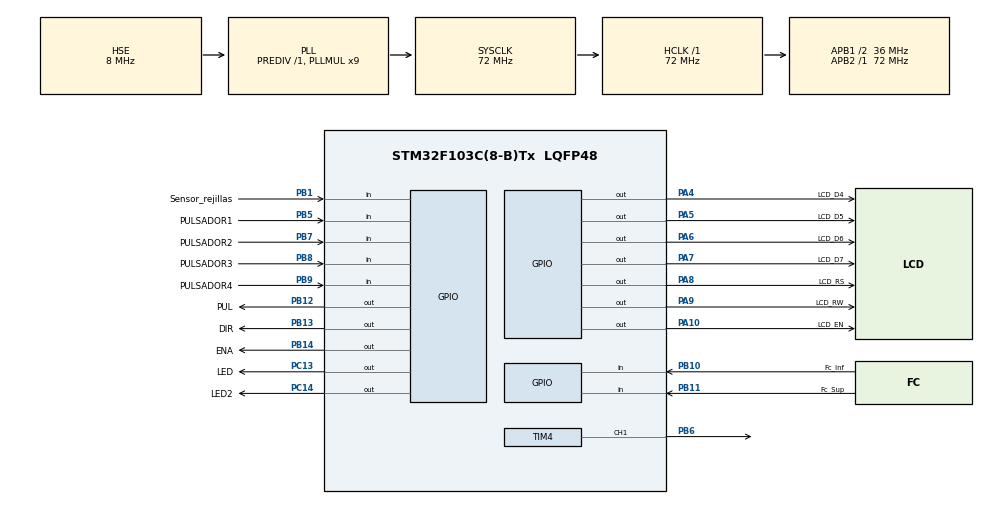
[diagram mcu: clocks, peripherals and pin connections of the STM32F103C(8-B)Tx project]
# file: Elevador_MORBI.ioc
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Mcu.Family=STM32F1
PB14.GPIO_Label=ENA
PA6.GPIO_Label=LCD_D6
PB13.GPIO_Label=DIR
PB11.Signal=GPIO_Input
PB13.Signal=GPIO_Output
RCC.SYSCLKSource=RCC_SYSCLKSOURCE_PLLCLK
ProjectManager.StackSize=0x400
PD1-OSC_OUT.Signal=RCC_OSC_OUT
RCC.HCLKFreq_Value=72000000
RCC.APB2TimFreq_Value=72000000
TIM4.Pulse-PWM\ Generation1\ CH1=18000
PB6.Signal=S_TIM4_CH1
RCC.AHBFreq_Value=72000000
RCC.PLLMUL=RCC_PLL_MUL9
PB12.GPIO_Label=PUL
PC13-TAMPER-RTC.PinState=GPIO_PIN_SET
PA14.Mode=Serial_Wire
PB1.GPIO_Label=Sensor_rejillas
PA10.GPIO_Label=LCD_EN
PB7.Signal=GPIO_Input
PA8.Signal=GPIO_Output
TIM4.Period=36000
PB7.GPIO_Label=PULSADOR2
Mcu.Package=LQFP48
PB9.Signal=GPIO_Input
PB1.Signal=GPIO_Input
PA6.Signal=GPIO_Output
PA10.Signal=GPIO_Output
PB5.GPIO_Label=PULSADOR1
SH.S_TIM4_CH1.0=TIM4_CH1,PWM Generation1 CH1
RCC.APB1TimFreq_Value=72000000
PC14-OSC32_IN.GPIO_Label=LED2
PA4.GPIO_Label=LCD_D4
RCC.PLLSourceVirtual=RCC_PLLSOURCE_HSE
TIM4.Channel-PWM\ Generation1\ CH1=TIM_CHANNEL_1
TIM4.AutoReloadPreload=TIM_AUTORELOAD_PRELOAD_DISABLE
PD1-OSC_OUT.Mode=HSE-External-Oscillator
TIM4.CounterMode=TIM_COUNTERMODE_UP
PB9.GPIO_Label=PULSADOR4
PA9.GPIO_Label=LCD_RW
PB11.GPIO_Label=Fc_Sup
PC13-TAMPER-RTC.Signal=GPIO_Output
RCC.USBPrescaler=RCC_USBCLKSOURCE_PLL_DIV1_5
PD0-OSC_IN.Signal=RCC_OSC_IN
RCC.APB1CLKDivider=RCC_HCLK_DIV2
PC14-OSC32_IN.Signal=GPIO_Output
PA13.Signal=SYS_JTMS-SWDIO
PB8.GPIO_Label=PULSADOR3
PA8.GPIO_Label=LCD_RS
ProjectManager.TargetToolchain=STM32CubeIDE
PB10.GPIO_Label=Fc_Inf
PA9.Signal=GPIO_Output
RCC.USBFreq_Value=48000000
TIM4.Prescaler=1-1
PD0-OSC_IN.Mode=HSE-External-Oscillator
PB10.Signal=GPIO_Input
PB14.Signal=GPIO_Output
PA5.Signal=GPIO_Output
board=custom
PC13-TAMPER-RTC.GPIO_Label=LED
RCC.APB2Freq_Value=72000000
PA13.Mode=Serial_Wire
Mcu.Name=STM32F103C(8-B)Tx
PA4.Signal=GPIO_Output
RCC.SYSCLKFreq_VALUE=72000000
PB5.Signal=GPIO_Input
PA7.GPIO_Label=LCD_D7
PA5.GPIO_Label=LCD_D5
PA14.Signal=SYS_JTCK-SWCLK
ProjectManager.HeapSize=0x200
VP_TIM4_VS_ClockSourceINT.Mode=Internal
NVIC.PriorityGroup=NVIC_PRIORITYGROUP_4
PB8.Signal=GPIO_Input
RCC.APB1Freq_Value=36000000
PB12.Signal=GPIO_Output
PA7.Signal=GPIO_Output

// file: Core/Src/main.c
/* USER CODE BEGIN Header */
/**
  ******************************************************************************
  * @file           : main.c
  * @brief          : Main program body
  ******************************************************************************
  * @attention
  *
  * <h2><center>&copy; Copyright (c) 2019 STMicroelectronics.
  * All rights reserved.</center></h2>
  *
  * This software component is licensed by ST under BSD 3-Clause license,
  * the "License"; You may not use this file except in compliance with the
  * License. You may obtain a copy of the License at:
  *                        opensource.org/licenses/BSD-3-Clause
  *
  ******************************************************************************
  */
/* USER CODE END Header */
#include "main.h"

/* USER CODE BEGIN Includes */
#include <app_cfg.h>
#include <cpu_core.h>
#include <os.h>
#include "stdio.h"
#include <math.h>
#include "lib_str.h"
#include "stdarg.h"
#include "tareas.h"

/* USER CODE END Includes */

/* USER CODE BEGIN PD */
#warning "Modify this value to match the number of external interrupts in your MCU"
#define EXT_INT_MAX_NBR 16u
/* USER CODE END PD */

TIM_HandleTypeDef htim4;

/* USER CODE BEGIN PV */
static void StartupTask 			(void *p_arg);
static void LecturaPulsadores		(void *p_arg);
static void ActualizarDisplay		(void *p_arg);
static void ControlMotor			(void *p_arg);

static OS_STK StartupTaskStk[APP_CFG_STARTUP_TASK_STK_SIZE];
static OS_STK Task1Stk[APP_CFG_TASK1_STK_SIZE];
static OS_STK Task2Stk[APP_CFG_TASK2_STK_SIZE];
static OS_STK Task3Stk[APP_CFG_TASK3_STK_SIZE];
static OS_STK Task4Stk[APP_CFG_TASK4_STK_SIZE];
static OS_STK Task5Stk[APP_CFG_TASK5_STK_SIZE];
static OS_STK Task6Stk[APP_CFG_TASK6_STK_SIZE];

static void App_TaskCreate (void);
static void App_Task2Create (void);
static void App_Task3Create (void);
static void App_Task4Create (void);
static void App_Task5Create (void);
static void App_Task6Create (void);
void UsbPrintf (CPU_CHAR  *p_fmt, ...);

/* USER CODE END PV */

void SystemClock_Config(void);
static void MX_GPIO_Init(void);
static void MX_TIM4_Init(void);

int main(void)
{
  /* USER CODE BEGIN 1 */
#if (OS_TASK_NAME_EN > 0u)
CPU_INT08U os_err;
#endif
CPU_INT16U int_id;
  /* USER CODE END 1 */

  /* MCU Configuration--------------------------------------------------------*/

  /* Reset of all peripherals, Initializes the Flash interface and the Systick. */
  HAL_Init();

  /* USER CODE BEGIN Init */
  CPU_IntDis();
  for (int_id = CPU_INT_EXT0; int_id <= (EXT_INT_MAX_NBR - 1u); int_id++)
  {
  /* Set all external intr. to KA interrupt priority boundary */
  CPU_IntSrcPrioSet(int_id, CPU_CFG_KA_IPL_BOUNDARY, CPU_INT_KA);
  }

  /* USER CODE END Init */

  /* Configure the system clock */
  SystemClock_Config();

  /* Initialize all configured peripherals */
  MX_GPIO_Init();
  MX_TIM4_Init();
  /* USER CODE BEGIN 2 */

  //HAL_TIM_PWM_Start(&htim4, TIM_CHANNEL_1);

  OSInit();
  OSTaskCreateExt( StartupTask,
                   0,
				   &StartupTaskStk[APP_CFG_STARTUP_TASK_STK_SIZE - 1],
				   APP_CFG_STARTUP_TASK_PRIO,
				   APP_CFG_STARTUP_TASK_PRIO,
				   &StartupTaskStk[0],
				   APP_CFG_STARTUP_TASK_STK_SIZE,
				   0,
				   (OS_TASK_OPT_STK_CHK | OS_TASK_OPT_STK_CLR));
  #if (OS_TASK_NAME_EN > 0u)
   OSTaskNameSet( APP_CFG_STARTUP_TASK_PRIO,
    	  	      (INT8U *)"Startup task",
				  &os_err);
  #endif

  OSStart();
  /* USER CODE END 2 */

  /* Infinite loop */
  while (1)
  {

  }
}

void SystemClock_Config(void)
{
  RCC_OscInitTypeDef RCC_OscInitStruct = {0};
  RCC_ClkInitTypeDef RCC_ClkInitStruct = {0};

  /** Initializes the RCC Oscillators according to the specified parameters
  * in the RCC_OscInitTypeDef structure.
  */
  RCC_OscInitStruct.OscillatorType = RCC_OSCILLATORTYPE_HSE;
  RCC_OscInitStruct.HSEState = RCC_HSE_ON;
  RCC_OscInitStruct.HSEPredivValue = RCC_HSE_PREDIV_DIV1;
  RCC_OscInitStruct.HSIState = RCC_HSI_ON;
  RCC_OscInitStruct.PLL.PLLState = RCC_PLL_ON;
  RCC_OscInitStruct.PLL.PLLSource = RCC_PLLSOURCE_HSE;
  RCC_OscInitStruct.PLL.PLLMUL = RCC_PLL_MUL9;
  if (HAL_RCC_OscConfig(&RCC_OscInitStruct) != HAL_OK)
  {
    Error_Handler();
  }
  /** Initializes the CPU, AHB and APB buses clocks
  */
  RCC_ClkInitStruct.ClockType = RCC_CLOCKTYPE_HCLK|RCC_CLOCKTYPE_SYSCLK
                              |RCC_CLOCKTYPE_PCLK1|RCC_CLOCKTYPE_PCLK2;
  RCC_ClkInitStruct.SYSCLKSource = RCC_SYSCLKSOURCE_PLLCLK;
  RCC_ClkInitStruct.AHBCLKDivider = RCC_SYSCLK_DIV1;
  RCC_ClkInitStruct.APB1CLKDivider = RCC_HCLK_DIV2;
  RCC_ClkInitStruct.APB2CLKDivider = RCC_HCLK_DIV1;

  if (HAL_RCC_ClockConfig(&RCC_ClkInitStruct, FLASH_LATENCY_2) != HAL_OK)
  {
    Error_Handler();
  }
}

static void MX_TIM4_Init(void)
{

  TIM_ClockConfigTypeDef sClockSourceConfig = {0};
  TIM_MasterConfigTypeDef sMasterConfig = {0};
  TIM_OC_InitTypeDef sConfigOC = {0};

  htim4.Instance = TIM4;
  htim4.Init.Prescaler = 1-1;
  htim4.Init.CounterMode = TIM_COUNTERMODE_UP;
  htim4.Init.Period = 36000;
  htim4.Init.ClockDivision = TIM_CLOCKDIVISION_DIV1;
  htim4.Init.AutoReloadPreload = TIM_AUTORELOAD_PRELOAD_DISABLE;
  if (HAL_TIM_Base_Init(&htim4) != HAL_OK)
  {
    Error_Handler();
  }
  sClockSourceConfig.ClockSource = TIM_CLOCKSOURCE_INTERNAL;
  if (HAL_TIM_ConfigClockSource(&htim4, &sClockSourceConfig) != HAL_OK)
  {
    Error_Handler();
  }
  if (HAL_TIM_PWM_Init(&htim4) != HAL_OK)
  {
    Error_Handler();
  }
  sMasterConfig.MasterOutputTrigger = TIM_TRGO_RESET;
  sMasterConfig.MasterSlaveMode = TIM_MASTERSLAVEMODE_DISABLE;
  if (HAL_TIMEx_MasterConfigSynchronization(&htim4, &sMasterConfig) != HAL_OK)
  {
    Error_Handler();
  }
  sConfigOC.OCMode = TIM_OCMODE_PWM1;
  sConfigOC.Pulse = 18000;
  sConfigOC.OCPolarity = TIM_OCPOLARITY_HIGH;
  sConfigOC.OCFastMode = TIM_OCFAST_DISABLE;
  if (HAL_TIM_PWM_ConfigChannel(&htim4, &sConfigOC, TIM_CHANNEL_1) != HAL_OK)
  {
    Error_Handler();
  }
  HAL_TIM_MspPostInit(&htim4);

}

static void MX_GPIO_Init(void)
{
  GPIO_InitTypeDef GPIO_InitStruct = {0};

  /* GPIO Ports Clock Enable */
  __HAL_RCC_GPIOC_CLK_ENABLE();
  __HAL_RCC_GPIOD_CLK_ENABLE();
  __HAL_RCC_GPIOA_CLK_ENABLE();
  __HAL_RCC_GPIOB_CLK_ENABLE();

  /*Configure GPIO pin Output Level */
  HAL_GPIO_WritePin(LED_GPIO_Port, LED_Pin, GPIO_PIN_SET);

  /*Configure GPIO pin Output Level */
  HAL_GPIO_WritePin(LED2_GPIO_Port, LED2_Pin, GPIO_PIN_RESET);

  /*Configure GPIO pin Output Level */
  HAL_GPIO_WritePin(GPIOA, LCD_D4_Pin|LCD_D5_Pin|LCD_D6_Pin|LCD_D7_Pin
                          |LCD_RS_Pin|LCD_RW_Pin|LCD_EN_Pin, GPIO_PIN_RESET);

  /*Configure GPIO pin Output Level */
  HAL_GPIO_WritePin(GPIOB, PUL_Pin|DIR_Pin|ENA_Pin, GPIO_PIN_RESET);

  /*Configure GPIO pins : LED_Pin LED2_Pin */
  GPIO_InitStruct.Pin = LED_Pin|LED2_Pin;
  GPIO_InitStruct.Mode = GPIO_MODE_OUTPUT_PP;
  GPIO_InitStruct.Pull = GPIO_NOPULL;
  GPIO_InitStruct.Speed = GPIO_SPEED_FREQ_LOW;
  HAL_GPIO_Init(GPIOC, &GPIO_InitStruct);

  /*Configure GPIO pins : LCD_D4_Pin LCD_D5_Pin LCD_D6_Pin LCD_D7_Pin
                           LCD_RS_Pin LCD_RW_Pin LCD_EN_Pin */
  GPIO_InitStruct.Pin = LCD_D4_Pin|LCD_D5_Pin|LCD_D6_Pin|LCD_D7_Pin
                          |LCD_RS_Pin|LCD_RW_Pin|LCD_EN_Pin;
  GPIO_InitStruct.Mode = GPIO_MODE_OUTPUT_PP;
  GPIO_InitStruct.Pull = GPIO_NOPULL;
  GPIO_InitStruct.Speed = GPIO_SPEED_FREQ_LOW;
  HAL_GPIO_Init(GPIOA, &GPIO_InitStruct);

  /*Configure GPIO pins : Sensor_rejillas_Pin Fc_Inf_Pin Fc_Sup_Pin PULSADOR1_Pin
                           PULSADOR2_Pin PULSADOR3_Pin PULSADOR4_Pin */
  GPIO_InitStruct.Pin = Sensor_rejillas_Pin|Fc_Inf_Pin|Fc_Sup_Pin|PULSADOR1_Pin
                          |PULSADOR2_Pin|PULSADOR3_Pin|PULSADOR4_Pin;
  GPIO_InitStruct.Mode = GPIO_MODE_INPUT;
  GPIO_InitStruct.Pull = GPIO_NOPULL;
  HAL_GPIO_Init(GPIOB, &GPIO_InitStruct);

  /*Configure GPIO pins : PUL_Pin DIR_Pin ENA_Pin */
  GPIO_InitStruct.Pin = PUL_Pin|DIR_Pin|ENA_Pin;
  GPIO_InitStruct.Mode = GPIO_MODE_OUTPUT_PP;
  GPIO_InitStruct.Pull = GPIO_NOPULL;
  GPIO_InitStruct.Speed = GPIO_SPEED_FREQ_LOW;
  HAL_GPIO_Init(GPIOB, &GPIO_InitStruct);

}

/* USER CODE BEGIN 4 */
/*
*************************************************************************
* STM32Cube HAL FUNCTIONS
*************************************************************************
*/
HAL_StatusTypeDef HAL_InitTick(uint32_t TickPriority)
{
/* define as empty to prevent the system tick being initialized before
    the OS starts */
 return (HAL_OK);
}

uint32_t HAL_GetTick(void)
{
 CPU_INT32U os_tick_ctr;

 #if (OS_VERSION >= 30000u)
  OS_ERR os_err;
  os_tick_ctr = OSTimeGet(&os_err);
 #else
  os_tick_ctr = OSTimeGet();
 #endif

 return os_tick_ctr;
}

/*
*********************************************************************************************************
*                                          App_TaskStart()
*
* Description : The startup task.  The uC/OS-II ticker should only be initialize once multitasking starts.
*
* Argument(s) : p_arg       Argument passed to 'App_TaskStart()' by 'OSTaskCreate()'.
*
* Return(s)   : none.
*
* Caller(s)   : This is a task.
*
* Note(s)     : none.
*********************************************************************************************************
*/

static void StartupTask (void *p_arg)
{
 CPU_INT32U cpu_clk;
 (void)p_arg;
 cpu_clk = HAL_RCC_GetHCLKFreq();
 /* Initialize and enable System Tick timer */
 OS_CPU_SysTickInitFreq(cpu_clk);

 #if (OS_TASK_STAT_EN > 0)
  OSStatInit();                                               /* Determine CPU capacity.                              */
 #endif

// App_EventCreate();                                          /* Create application events.                           */
// App_TaskCreate();
  App_TaskCreate();			/* Create application tasks.               */
  App_Task2Create();		/* Create application tasks.  			   */
  App_Task3Create();		/* Create application tasks.  			   */
  App_Task4Create();
  App_Task5Create();
  App_Task6Create();

 while (DEF_TRUE){
   HAL_GPIO_TogglePin(GPIOC, GPIO_PIN_13);
   //UsbPrintf("uCOS-II Running...\n");
   OSTimeDlyHMSM(0u, 0u, 1u, 0u);
  }
}

/*
**************************************************************************************************************************
*                                               UsbPrintfMsg()
*
* Description :
* Argument(s) : none
* Return(s)   : none.
* Caller(s)   :
* Note(s)     : none.
**************************************************************************************************************************
*/

/*
*********************************************************************************************************
*                                 static void App_TaskCreate (void)
*
* Description : Creacion de las tareas
*
* Argument(s) : none
*
* Return(s)   : none.
*
* Caller(s)   : This is a task.
*
* Note(s)     : none.
*********************************************************************************************************
*/

static void App_TaskCreate (void)
{
	CPU_INT08U os_err;

	os_err = OSTaskCreateExt((void (*)(void *)) LecturaPulsadores,
							 (void			* )0,
							 (OS_STK		* )&Task1Stk[APP_CFG_TASK1_STK_SIZE - 1],
							 (INT8U			  ) APP_CFG_TASK1_PRIO,
							 (INT16U		  ) APP_CFG_TASK1_PRIO,
							 (OS_STK		* )&Task1Stk[0],
							 (INT32U		  ) APP_CFG_TASK1_STK_SIZE,
							 (void			* )0,
							 (INT16U		  )(OS_TASK_OPT_STK_CLR | OS_TASK_OPT_STK_CHK));

	OSTaskNameSet(APP_CFG_TASK1_PRIO, (unsigned char *)"Pulsadores", &os_err);
}

static void App_Task2Create (void)
{
	CPU_INT08U os_err;

	os_err = OSTaskCreateExt((void (*)(void *)) ActualizarDisplay,
							 (void			* )0,
							 (OS_STK		* )&Task2Stk[APP_CFG_TASK2_STK_SIZE - 1],
							 (INT8U			  ) APP_CFG_TASK2_PRIO,
							 (INT16U		  ) APP_CFG_TASK2_PRIO,
							 (OS_STK		* )&Task2Stk[0],
							 (INT32U		  ) APP_CFG_TASK2_STK_SIZE,
							 (void			* )0,
							 (INT16U		  )(OS_TASK_OPT_STK_CLR | OS_TASK_OPT_STK_CHK));

	OSTaskNameSet(APP_CFG_TASK2_PRIO, (unsigned char *)"Display", &os_err);
}

static void App_Task3Create (void)
{
	CPU_INT08U os_err;

	os_err = OSTaskCreateExt((void (*)(void *)) ControlMotor,
							 (void			* )0,
							 (OS_STK		* )&Task3Stk[APP_CFG_TASK3_STK_SIZE - 1],
							 (INT8U			  ) APP_CFG_TASK3_PRIO,
							 (INT16U		  ) APP_CFG_TASK3_PRIO,
							 (OS_STK		* )&Task3Stk[0],
							 (INT32U		  ) APP_CFG_TASK3_STK_SIZE,
							 (void			* )0,
							 (INT16U		  )(OS_TASK_OPT_STK_CLR | OS_TASK_OPT_STK_CHK));

	OSTaskNameSet(APP_CFG_TASK3_PRIO, (unsigned char *)"Control Motor", &os_err);
}

static void App_Task4Create (void)
{
	CPU_INT08U os_err;

	os_err = OSTaskCreateExt((void (*)(void *)) Detener,
							 (void			* )0,
							 (OS_STK		* )&Task4Stk[APP_CFG_TASK4_STK_SIZE - 1],
							 (INT8U			  ) APP_CFG_TASK4_PRIO,
							 (INT16U		  ) APP_CFG_TASK4_PRIO,
							 (OS_STK		* )&Task4Stk[0],
							 (INT32U		  ) APP_CFG_TASK4_STK_SIZE,
							 (void			* )0,
							 (INT16U		  )(OS_TASK_OPT_STK_CLR | OS_TASK_OPT_STK_CHK));

	OSTaskNameSet(APP_CFG_TASK4_PRIO, (unsigned char *)"Detener", &os_err);
}

static void App_Task5Create (void)
{
	CPU_INT08U os_err;

	os_err = OSTaskCreateExt((void (*)(void *)) FinalesDeCarrera,
							 (void			* )0,
							 (OS_STK		* )&Task5Stk[APP_CFG_TASK5_STK_SIZE - 1],
							 (INT8U			  ) APP_CFG_TASK5_PRIO,
							 (INT16U		  ) APP_CFG_TASK5_PRIO,
							 (OS_STK		* )&Task5Stk[0],
							 (INT32U		  ) APP_CFG_TASK5_STK_SIZE,
							 (void			* )0,
							 (INT16U		  )(OS_TASK_OPT_STK_CLR | OS_TASK_OPT_STK_CHK));

	OSTaskNameSet(APP_CFG_TASK5_PRIO, (unsigned char *)"FC", &os_err);
}

static void App_Task6Create (void)
{
	CPU_INT08U os_err;

	os_err = OSTaskCreateExt((void (*)(void *)) Piezas,
							 (void			* )0,
							 (OS_STK		* )&Task6Stk[APP_CFG_TASK6_STK_SIZE - 1],
							 (INT8U			  ) APP_CFG_TASK6_PRIO,
							 (INT16U		  ) APP_CFG_TASK6_PRIO,
							 (OS_STK		* )&Task6Stk[0],
							 (INT32U		  ) APP_CFG_TASK6_STK_SIZE,
							 (void			* )0,
							 (INT16U		  )(OS_TASK_OPT_STK_CLR | OS_TASK_OPT_STK_CHK));

	OSTaskNameSet(APP_CFG_TASK6_PRIO, (unsigned char *)"Piezas", &os_err);
}
/* USER CODE END 4 */

void Error_Handler(void)
{
}

/************************ (C) COPYRIGHT STMicroelectronics *****END OF FILE****/
